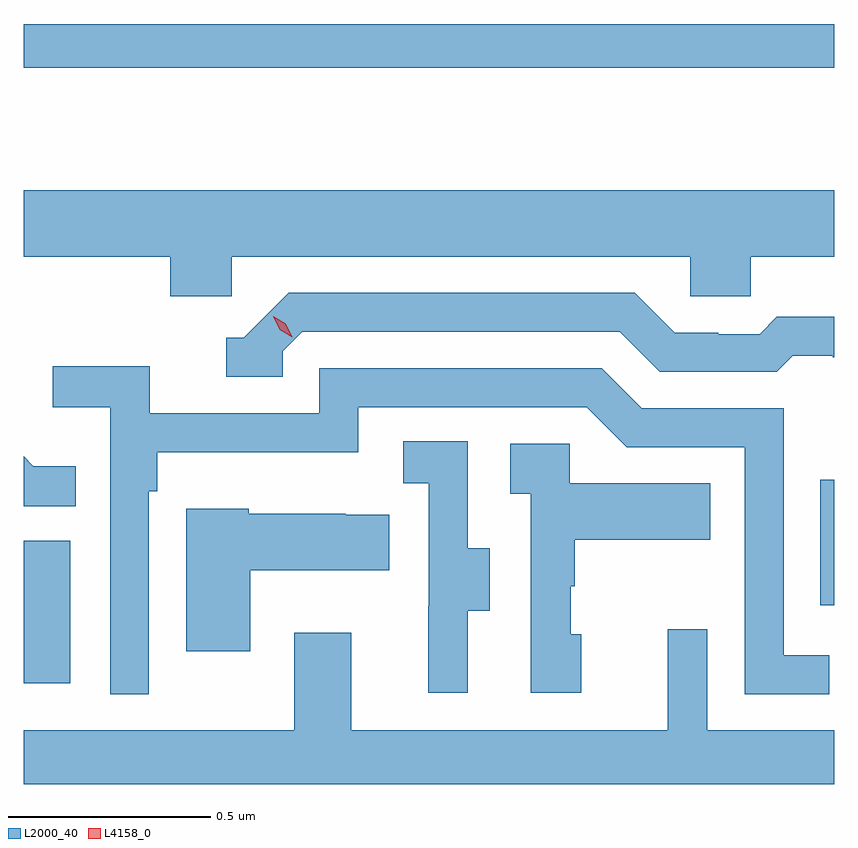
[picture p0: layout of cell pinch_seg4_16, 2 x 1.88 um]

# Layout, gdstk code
import gdstk
lib = gdstk.Library(unit=1e-6, precision=1e-09)
def R(c, l, rs):  # rectangles x0, y0, x1, y1
    for r in rs: c.add(gdstk.rectangle(r[:2], r[2:], *l))
def P(c, l, *ps):  # polygons
    for p in ps: c.add(gdstk.Polygon(p, *l))
L2000_40 = (2000, 40)
L4158_0 = (4158, 0)

pinch_seg4_16 = lib.new_cell('pinch_seg4_16')
R(pinch_seg4_16, L2000_40, [(1113.549,814.416,1113.664,814.767), (1115.514,814.608,1115.549,814.918), (1113.549,815.934,1115.549,816.042)])
P(pinch_seg4_16, L2000_40, [(1114.062,815.468),(1115.193,815.468),(1115.193,815.37),(1115.343,815.37),(1115.343,815.468),(1115.549,815.468),(1115.549,815.632),(1113.549,815.632),(1113.549,815.468),(1113.911,815.468),(1113.911,815.37),(1114.062,815.37)],
  [(1114.188,815.235),(1114.236,815.283),(1115.019,815.283),(1115.118,815.184),(1115.407,815.184),(1115.446,815.223),(1115.545,815.223),(1115.545,815.22),(1115.549,815.22),(1115.549,815.32),(1115.407,815.32),(1115.365,815.277),(1115.262,815.277),(1115.262,815.28),(1115.155,815.28),(1115.056,815.379),(1114.203,815.379),(1114.092,815.268),(1114.049,815.268),(1114.049,815.172),(1114.188,815.172)],
  [(1113.858,814.889),(1113.878,814.889),(1113.878,814.985),(1114.374,814.985),(1114.374,815.097),(1114.938,815.097),(1115.037,814.998),(1115.328,814.998),(1115.328,814.389),(1115.537,814.389),(1115.537,814.485),(1115.424,814.485),(1115.424,815.094),(1115.074,815.094),(1114.975,815.193),(1114.278,815.193),(1114.278,815.082),(1113.86,815.082),(1113.86,815.198),(1113.621,815.198),(1113.621,815.096),(1113.762,815.096),(1113.762,814.389),(1113.858,814.389)],
  [(1114.645,814.594),(1114.699,814.594),(1114.699,814.749),(1114.644,814.749),(1114.644,815.012),(1114.485,815.012),(1114.485,814.909),(1114.548,814.909),(1114.548,814.605),(1114.547,814.605),(1114.547,814.392),(1114.645,814.392)],
  [(1114.924,814.536),(1114.899,814.536),(1114.899,814.655),(1114.909,814.655),(1114.909,814.769),(1115.243,814.769),(1115.243,814.909),(1114.896,814.909),(1114.896,815.007),(1114.749,815.007),(1114.749,814.883),(1114.8,814.883),(1114.8,814.392),(1114.924,814.392)],
  [(1113.677,814.951),(1113.573,814.951),(1113.549,814.975),(1113.549,814.852),(1113.677,814.852)],
  [(1114.108,814.694),(1114.451,814.694),(1114.451,814.831),(1114.343,814.831),(1114.343,814.834),(1114.104,814.834),(1114.104,814.846),(1113.95,814.846),(1113.95,814.494),(1114.108,814.494)],
  [(1114.217,814.54),(1114.217,814.3),(1113.549,814.3),(1113.549,814.167),(1115.549,814.167),(1115.549,814.3),(1115.235,814.3),(1115.235,814.549),(1115.138,814.549),(1115.138,814.3),(1114.357,814.3),(1114.357,814.54)])
P(pinch_seg4_16, L4158_0, [(1114.212,815.269),(1114.181,815.288),(1114.165,815.321),(1114.165,815.321),(1114.165,815.321),(1114.196,815.302),(1114.212,815.269),(1114.212,815.269)])

lib.write_gds('pinch_seg4_16.gds')
